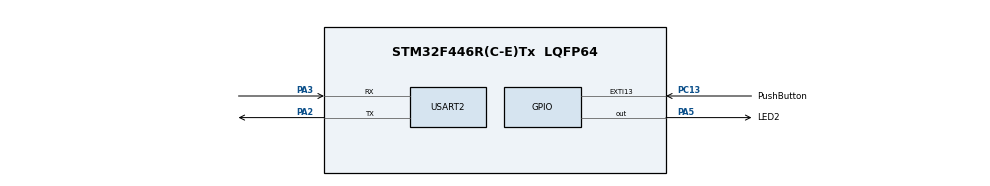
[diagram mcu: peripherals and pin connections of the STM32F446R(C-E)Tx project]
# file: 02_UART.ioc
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Mcu.Family=STM32F4
Mcu.Name=STM32F446R(C-E)Tx
Mcu.Package=LQFP64
NVIC.PriorityGroup=NVIC_PRIORITYGROUP_4
PA2.Mode=Asynchronous
PA2.Signal=USART2_TX
PA3.Mode=Asynchronous
PA3.Signal=USART2_RX
PA5.GPIO_Label=LED2
PA5.Signal=GPIO_Output
PC13.GPIO_Label=PushButton
PC13.Signal=GPXTI13
ProjectManager.HeapSize=0x200
ProjectManager.StackSize=0x400
ProjectManager.TargetToolchain=STM32CubeIDE
RCC.CortexFreq_Value=16000000
RCC.USBFreq_Value=96000000
RCC.VCOOutputFreq_Value=192000000
USART2.VirtualMode=VM_ASYNC
board=custom

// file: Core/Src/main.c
/* USER CODE BEGIN Header */
/**
  ******************************************************************************
  * @file           : main.c
  * @brief          : Main program body
  ******************************************************************************
  * @attention
  *
  * Copyright (c) 2023 STMicroelectronics.
  * All rights reserved.
  *
  * This software is licensed under terms that can be found in the LICENSE file
  * in the root directory of this software component.
  * If no LICENSE file comes with this software, it is provided AS-IS.
  *
  ******************************************************************************
  */
/* USER CODE END Header */
#include "main.h"

/* USER CODE BEGIN Includes */
#include <string.h>
#include <stdio.h>
#include <stdlib.h>
/* USER CODE END Includes */

/* USER CODE BEGIN PD */
#define WELCOME_MSG "Welcome to the my Nucleo Management Console\r\n"
#define MAIN_MENU "Select the option you are interested in:\r\n\t1. Toggle LD2 LED\r\n\t2. Read PushButton status\r\n\t3. Clear screen and print this message"
#define PROMPT "\r\n> "
/* USER CODE END PD */

UART_HandleTypeDef huart2;

void SystemClock_Config(void);
static void MX_GPIO_Init(void);
static void MX_USART2_UART_Init(void);
/* USER CODE BEGIN PFP */
void printWelcomeMessage(void);
uint8_t processUserInput(uint8_t opt);
uint8_t readUserInput(void);
/* USER CODE END PFP */

int main(void)
{
  /* USER CODE BEGIN 1 */
	uint8_t opt = 0;
  /* USER CODE END 1 */

  /* MCU Configuration--------------------------------------------------------*/

  /* Reset of all peripherals, Initializes the Flash interface and the Systick. */
  HAL_Init();

  /* Configure the system clock */
  SystemClock_Config();

  /* Initialize all configured peripherals */
  MX_GPIO_Init();
  MX_USART2_UART_Init();

  /* Infinite loop */
  /* USER CODE BEGIN WHILE */

printMessage:
	printWelcomeMessage();
  while (1)
  {
	  opt = readUserInput();
	  processUserInput(opt);
	  if (opt == 3)
		  goto printMessage;
    /* USER CODE END WHILE */

  }
}

void SystemClock_Config(void)
{
  RCC_OscInitTypeDef RCC_OscInitStruct = {0};
  RCC_ClkInitTypeDef RCC_ClkInitStruct = {0};

  /** Configure the main internal regulator output voltage
  */
  __HAL_RCC_PWR_CLK_ENABLE();
  __HAL_PWR_VOLTAGESCALING_CONFIG(PWR_REGULATOR_VOLTAGE_SCALE3);

  /** Initializes the RCC Oscillators according to the specified parameters
  * in the RCC_OscInitTypeDef structure.
  */
  RCC_OscInitStruct.OscillatorType = RCC_OSCILLATORTYPE_HSI;
  RCC_OscInitStruct.HSIState = RCC_HSI_ON;
  RCC_OscInitStruct.HSICalibrationValue = RCC_HSICALIBRATION_DEFAULT;
  RCC_OscInitStruct.PLL.PLLState = RCC_PLL_NONE;
  if (HAL_RCC_OscConfig(&RCC_OscInitStruct) != HAL_OK)
  {
    Error_Handler();
  }

  /** Initializes the CPU, AHB and APB buses clocks
  */
  RCC_ClkInitStruct.ClockType = RCC_CLOCKTYPE_HCLK|RCC_CLOCKTYPE_SYSCLK
                              |RCC_CLOCKTYPE_PCLK1|RCC_CLOCKTYPE_PCLK2;
  RCC_ClkInitStruct.SYSCLKSource = RCC_SYSCLKSOURCE_HSI;
  RCC_ClkInitStruct.AHBCLKDivider = RCC_SYSCLK_DIV1;
  RCC_ClkInitStruct.APB1CLKDivider = RCC_HCLK_DIV1;
  RCC_ClkInitStruct.APB2CLKDivider = RCC_HCLK_DIV1;

  if (HAL_RCC_ClockConfig(&RCC_ClkInitStruct, FLASH_LATENCY_0) != HAL_OK)
  {
    Error_Handler();
  }
}

static void MX_USART2_UART_Init(void)
{

  huart2.Instance = USART2;
  huart2.Init.BaudRate = 115200;
  huart2.Init.WordLength = UART_WORDLENGTH_8B;
  huart2.Init.StopBits = UART_STOPBITS_1;
  huart2.Init.Parity = UART_PARITY_NONE;
  huart2.Init.Mode = UART_MODE_TX_RX;
  huart2.Init.HwFlowCtl = UART_HWCONTROL_NONE;
  huart2.Init.OverSampling = UART_OVERSAMPLING_16;
  if (HAL_UART_Init(&huart2) != HAL_OK)
  {
    Error_Handler();
  }

}

static void MX_GPIO_Init(void)
{
  GPIO_InitTypeDef GPIO_InitStruct = {0};

  /* GPIO Ports Clock Enable */
  __HAL_RCC_GPIOC_CLK_ENABLE();
  __HAL_RCC_GPIOA_CLK_ENABLE();

  /*Configure GPIO pin Output Level */
  HAL_GPIO_WritePin(LED2_GPIO_Port, LED2_Pin, GPIO_PIN_RESET);

  /*Configure GPIO pin : PushButton_Pin */
  GPIO_InitStruct.Pin = PushButton_Pin;
  GPIO_InitStruct.Mode = GPIO_MODE_IT_RISING;
  GPIO_InitStruct.Pull = GPIO_NOPULL;
  HAL_GPIO_Init(PushButton_GPIO_Port, &GPIO_InitStruct);

  /*Configure GPIO pin : LED2_Pin */
  GPIO_InitStruct.Pin = LED2_Pin;
  GPIO_InitStruct.Mode = GPIO_MODE_OUTPUT_PP;
  GPIO_InitStruct.Pull = GPIO_NOPULL;
  GPIO_InitStruct.Speed = GPIO_SPEED_FREQ_LOW;
  HAL_GPIO_Init(LED2_GPIO_Port, &GPIO_InitStruct);

}

/* USER CODE BEGIN 4 */
void printWelcomeMessage(void) {
	HAL_UART_Transmit(&huart2, (uint8_t*)"\033[0;0H", strlen("\033[0;0H"), HAL_MAX_DELAY);
	HAL_UART_Transmit(&huart2, (uint8_t*)"\033[2J", strlen("\033[2J"), HAL_MAX_DELAY);
	HAL_UART_Transmit(&huart2, (uint8_t*)WELCOME_MSG, strlen(WELCOME_MSG), HAL_MAX_DELAY);
	HAL_UART_Transmit(&huart2, (uint8_t*)MAIN_MENU, strlen(MAIN_MENU), HAL_MAX_DELAY);
}

uint8_t readUserInput(void) {
	char readBuf[1];

	HAL_UART_Transmit(&huart2, (uint8_t*)PROMPT, strlen(PROMPT), HAL_MAX_DELAY);
	HAL_UART_Receive(&huart2, (uint8_t*)readBuf, 1, HAL_MAX_DELAY);
	return atoi(readBuf);
}

uint8_t processUserInput(uint8_t opt){
	char msg[30];
	if (!opt || opt >3) return 0;

	sprintf(msg, "%d", opt);
	HAL_UART_Transmit(&huart2, (uint8_t*)msg, strlen(msg), HAL_MAX_DELAY);

	switch (opt) {
	case 1:
		HAL_GPIO_TogglePin(LED2_GPIO_Port, LED2_Pin);
		break;
	case 2:
		sprintf(msg, "\r\nUSER BUTTON STATUS: %s",
				HAL_GPIO_ReadPin(PushButton_GPIO_Port, PushButton_Pin) == GPIO_PIN_RESET ? "PRESSED" : "RELEASED");
		HAL_UART_Transmit(&huart2, (uint8_t*)msg, strlen(msg), HAL_MAX_DELAY);
		break;
	case 3:
		return 2;
	};
	return 1;
}
/* USER CODE END 4 */

void Error_Handler(void)
{
  __disable_irq();
  while (1)
  {
  }
}
